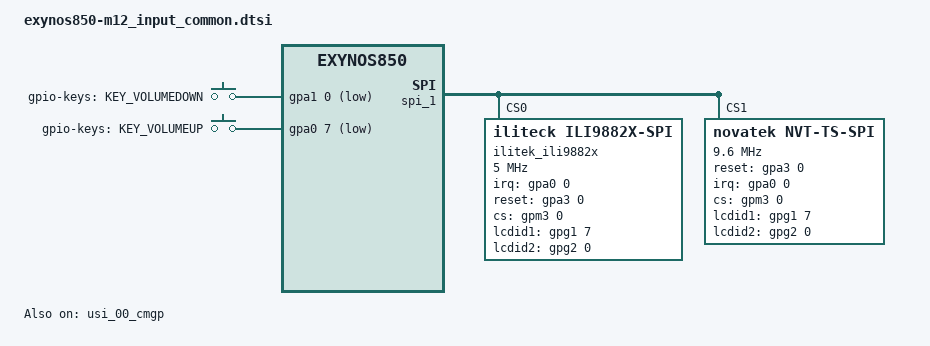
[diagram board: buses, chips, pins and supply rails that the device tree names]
/*
 * SAMSUNG EXYNOS850 board common device tree source
 *
 * Copyright (c) 2019 Samsung Electronics Co., Ltd.
 *		http://www.samsung.com
 *
 * This program is free software; you can redistribute it and/or modify
 * it under the terms of the GNU General Public License version 2 as
 * published by the Free Software Foundation.
 */

/ {
	fragment@common {
		target-path = "/";
		__overlay__ {
			#address-cells = <2>;
			#size-cells = <1>;

			gpio_keys {
				status = "okay";
				compatible = "gpio-keys";
				pinctrl-names = "default";
				pinctrl-0 = <&key_voldown &key_volup>;

				button@1 {
					label = "gpio-keys: KEY_VOLUMEDOWN";
					linux,code = <114>;
					gpios = <&gpa1 0 0xf>;
				};
				button@2 {
					label = "gpio-keys: KEY_VOLUMEUP";
					linux,code = <115>;
					gpios = <&gpa0 7 0xf>;
				};
			};
		}; /* end of __overlay__ */
	}; /* end of fragment */
}; /* end of root */

&pinctrl_0 {
	key_voldown: key-voldown {
		samsung,pins = "gpa1-0";
		samsung,pin-function = <0xf>;
		samsung,pin-pud = <0>;
		samsung,pin-drv = <0>;
	};

	key_volup: key-volup {
		samsung,pins = "gpa0-7";
		samsung,pin-function = <0xf>;
		samsung,pin-pud = <0>;
		samsung,pin-drv = <0>;
	};
};

&usi_00_cmgp {
		usi_v2_mode = "spi";
		status = "okay";
};

&pinctrl_0 {
	intr_on: intr-on {
		samsung,pins = "gpa0-0";
		samsung,pin-function = <0xf>;
		samsung,pin-pud = <0>;
		samsung,pin-drv = <0>;
	};

	intr_off: intr-off {
		samsung,pins = "gpa0-0";
		samsung,pin-function = <0>;
		samsung,pin-pud = <1>;
	};

	tsp_rst_on: tsp-rst-on {
		samsung,pins = "gpa3-0";
		samsung,pin-function = <1>;
		samsung,pin-val	= <1>;
		samsung,pin-pud = <0>;
	};

	tsp_rst_off: tsp-rst-off {
		samsung,pins = "gpa3-0";
		samsung,pin-function = <0>;
		samsung,pin-pud = <1>;
	};

};
&pinctrl_5 {
	tsp_id_on: tsp-id-on {
		samsung,pins = "gpg1-7", "gpg2-0";
		samsung,pin-function = <0>;
		samsung,pin-pud = <0>;
	};
	tsp_id_off: tsp-id-off {
		samsung,pins = "gpg1-7", "gpg2-0";
		samsung,pin-function = <0>;
		samsung,pin-pud = <1>;
	};
};

&spi_1 {
	#address-cells = <1>;
	#size-cells = <0>;
	status = "ok";
	pinctrl-names = "on_state", "off_state";
	pinctrl-0 = <&spi1_bus &spi1_cs>;
	pinctrl-1 = <&spi1_sleep>;
	num-cs = <2>;

	ilitek_ili9882x@0 {
		status = "okay";
		compatible = "iliteck,ili9882x-spi";
		reg = <0>;
		spi-max-frequency = <5000000>;
		pinctrl-names = "default", "pins_on_state", "pins_off_state";
		pinctrl-0 = <&tsp_id_on &intr_on &spi1_bus &spi1_cs &tsp_rst_on>;
		pinctrl-1 = <&tsp_id_on &intr_on &spi1_bus &spi1_cs &tsp_rst_on>;
		pinctrl-2 = <&intr_off &spi1_sleep &tsp_id_off &tsp_rst_off>;
		iliteck,irq-gpio = <&gpa0 0 0x2008>; /* IRQF_ONESHOT | IRQF_TRIGGER_LOW */
		iliteck,reset-gpio = <&gpa3 0 0x0>;
		iliteck,cs-gpio = <&gpm3 0 0>;
		iliteck,lcdid1-gpio = <&gpg1 7 0x0>;
		iliteck,lcdid2-gpio = <&gpg2 0 0x0>;
		iliteck,lcdid = <0>;
		iliteck,lcdtype = <0x0a7250>;
		iliteck,lcd_rst = "gpio_lcd_rst";
		iliteck,lcd_bl_en = "gpio_lcd_bl_en";
		iliteck,lcd_vddi = "vdd_ldo28";
		iliteck,irq-on-state = <0>;
		iliteck,spi-mode = <0>;
		iliteck,byte-delay-us = <0>;
		iliteck,block-delay-us = <0>;
		iliteck,ubl-max-freq = <5000000>;
		iliteck,ubl-byte-delay-us = <20>;
		iliteck,area-size = <48 81 30>;
		iliteck,enable_settings_aot;
		iliteck,enable_sysinput_enabled;
		iliteck,support_ear_detect_mode;
		iliteck,prox_lp_scan_enabled;
		iliteck,fw_name = "tsp_ilitek/ili9881x_m12s.hex";
		controller-data {
//			cs-gpio = <&gpm3 0 0>;
			samsung,spi-feedback-delay = <0>;
		};
	};

	/* Novatek device tree node */
	novatek@1 {
		status = "okay";
		compatible = "novatek,NVT-ts-spi";
		reg = <1>; //Same as CS ID
		spi-max-frequency = <9600000>;
		novatek,reset-gpio = <&gpa3 0 0x00>;
		novatek,irq-gpio = <&gpa0 0 0x2002>;
		novatek,cs-gpio = <&gpm3 0 0>;
		pinctrl-names = "default", "on_state", "off_state";
		pinctrl-0 = <&tsp_id_on &intr_on &spi1_bus &spi1_cs &tsp_rst_on>;
		pinctrl-1 = <&tsp_id_on &intr_on &spi1_bus &spi1_cs &tsp_rst_on>;
		pinctrl-2 = <&intr_off &spi1_sleep &tsp_id_off &tsp_rst_off>;
		novatek,resolution = <720 1600>;
		novatek,enable_settings_aot;
		novatek,support_ear_detect_mode;
		novatek,prox_lp_scan_enabled;
		novatek,enable_sysinput_enabled;
		novatek,lcdid1-gpio = <&gpg1 7 0x0>;
		novatek,lcdid2-gpio = <&gpg2 0 0x0>;
		novatek,lcdid = <1 2>;	// CSOT, DTC
		novatek,lcdtype = <0 0x0aa240 0x0a1240>;
		novatek,fw_name = "", "tsp_novatek/nt36525_m12s_csot.bin", "tsp_novatek/nt36525_m12s_dtc.bin";
		novatek,fw_name_mp = "", "tsp_novatek/nt36525_m12s_mp_csot.bin", "tsp_novatek/nt36525_m12s_mp_dtc.bin";
		novatek,regulator_lcd_vdd = "vdd_ldo28";
		novatek,regulator_lcd_reset = "gpio_lcd_rst";
		novatek,regulator_lcd_bl = "gpio_lcd_bl_en";

		/* 525 */
		//novatek,swrst-n8-addr = <0x01F01A>;

		/* 672A, 525B, 675, 526, 672C */
		novatek,swrst-n8-addr = <0x03F0FE>;
		novatek,spi-rd-fast-addr = <0x03F310>;

		/* MP */
		novatek,mp-support-dt;

		/* nt36525_m12s_csot */
		novatek-mp-criteria-7217@0 {
			#address-cells = <1>;
			#size-cells = <0>;
			compatible = "novatek-mp-criteria-7217";

			/* sec cmd test config */
			open_test_spec = <(-511) 5120>;
			short_test_spec = <10000 14008>;
			diff_test_frame = <50>;
			fdm_x_num = <2>;
		};
		/* nt36525_m12s_dtc */
		novatek-mp-criteria-7216@1 {
			#address-cells = <1>;
			#size-cells = <0>;
			compatible = "novatek-mp-criteria-7216";

			/* sec cmd test config */
			open_test_spec = <(-511) 5120>;
			short_test_spec = <10000 14008>;
			diff_test_frame = <50>;
			fdm_x_num = <2>;
		};
		/* nt36525_m12s_ltps */
		novatek-mp-criteria-721D@2 {
			#address-cells = <1>;
			#size-cells = <0>;
			compatible = "novatek-mp-criteria-721D";

			/* sec cmd test config */
			open_test_spec = <(-511) 5120>;
			short_test_spec = <10000 14008>;
			diff_test_frame = <50>;
			/* sec cmd fdm test config */
			fdm_x_num = <2>;
			fdm_diff_test_frame = <50>;
		};

		controller-data {
//			cs-gpio = <&gpm3 0 0>;
			samsung,spi-feedback-delay = <0>;
		};
	};
};
